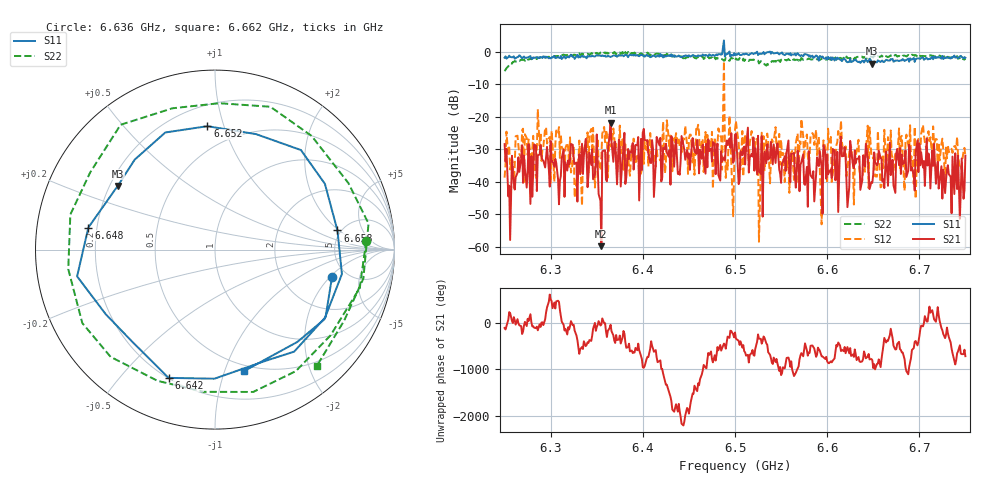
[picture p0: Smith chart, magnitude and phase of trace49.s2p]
# Hz S RI R 50
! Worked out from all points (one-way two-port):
!   401 points, 6.25 GHz to 6.75 GHz, reference 50 ohm
!   highest |S21| = -21.79 dB at 6.365 GHz (marker M1); lowest = -59.7 dB at 6.355 GHz (marker M2)
!   lowest |S11| = -3.8 dB at 6.649 GHz (marker M3), VSWR 4.68, Z = 11.6 + j14.2 ohm
!   |S11| at or under -10 dB: nowhere
!   |S22| runs from -6.0 to -0.1 dB; largest |S21 - S12| = 0.69
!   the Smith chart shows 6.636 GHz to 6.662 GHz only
!   S11 on the Smith chart (normalised r, x): 6.636 GHz: 3.81, -2.12; 6.642 GHz: 0.20, -0.68; 6.648 GHz: 0.17, +0.08; 6.652 GHz: 0.34, +0.88; 6.658 GHz: 4.66, +1.90; 6.662 GHz: 0.44, -1.17
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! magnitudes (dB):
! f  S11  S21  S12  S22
! 6.25 GHz  -1.9  -28.4  -38.7  -6.0
! 6.256 GHz  -1.6  -57.8  -36.2  -3.7
! 6.266 GHz  -1.1  -36.9  -31.4  -2.9
! 6.334 GHz  -1.3  -28.3  -47.3  -0.7
! 6.355 GHz  -1.4  -59.7  -32.0  -0.3
! 6.365 GHz  -1.7  -21.8  -28.9  -0.4
! 6.418 GHz  -1.6  -28.8  -33.0  -0.8
! 6.485 GHz  -1.0  -30.6  -26.1  -2.3
! 6.5 GHz  -1.1  -25.7  -24.1  -2.7
! 6.528 GHz  -0.7  -37.5  -36.1  -2.9
! 6.542 GHz  -0.6  -28.5  -27.6  -3.1
! 6.556 GHz  -0.7  -31.0  -36.6  -2.7
! 6.584 GHz  -1.3  -38.8  -25.0  -2.4
! 6.636 GHz  -3.5  -42.4  -38.6  -1.5
! 6.642 GHz  -2.4  -28.3  -30.6  -2.0
! 6.648 GHz  -2.9  -40.1  -31.9  -1.7
! 6.649 GHz  -3.8  -40.3  -31.9  -1.6
! 6.652 GHz  -3.2  -33.9  -38.3  -1.7
! 6.658 GHz  -3.2  -32.7  -41.7  -1.6
! 6.662 GHz  -3.1  -41.9  -24.0  -1.3
! 6.668 GHz  -2.8  -28.0  -35.8  -1.4
! 6.75 GHz  -1.9  -31.9  -32.1  -2.2
